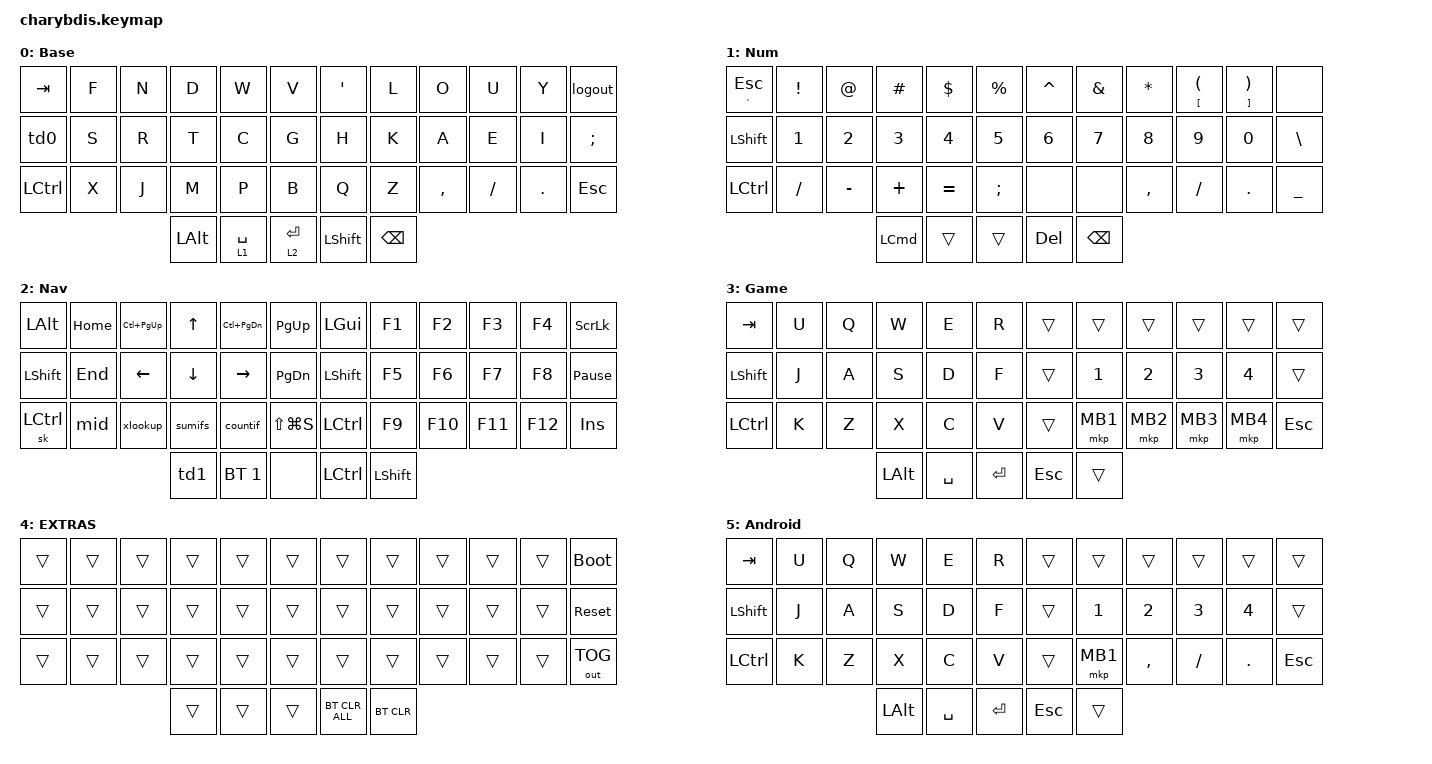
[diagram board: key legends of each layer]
#include <behaviors.dtsi>
#include <dt-bindings/zmk/bt.h>
#include <dt-bindings/zmk/keys.h>
#include <dt-bindings/zmk/outputs.h>
#include <dt-bindings/zmk/pointing.h>
#include "keys_pl.h"

&lt {
    tapping-term-ms = <200>;
    flavor = "balanced";
    quick-tap-ms = <150>;
};

/ {
    behaviors {
        td0: td0 {
            compatible = "zmk,behavior-tap-dance";
            display-name = "Shift/Caps Lock Tap Dance";
            #binding-cells = <0>;
            bindings = <&sk LEFT_SHIFT>, <&kp CAPS>;

            label = "Shift + Caps";
        };

        td1: td1 {
            compatible = "zmk,behavior-tap-dance";
            display-name = "BT 0 / BT 2 Lock Tap Dance";
            #binding-cells = <0>;
            bindings = <&bt BT_SEL 0>, <&bt BT_SEL 2>;

            label = "Tap BT0, dblt BT2";
        };
    };

    combos {
        compatible = "zmk,combos";

        Zs {
            timeout-ms = <20>;
            bindings = <&kp RA(Z)>;
            key-positions = <31 32>;
            layers = <0>;
        };

        Xs {
            timeout-ms = <20>;
            bindings = <&kp PL_X>;
            key-positions = <25 26>;
            layers = <0>;
        };

        Cs {
            timeout-ms = <20>;
            bindings = <&kp PL_C>;
            key-positions = <16 15>;
            layers = <0>;
        };

        Ns {
            timeout-ms = <20>;
            bindings = <&kp PL_N>;
            key-positions = <2 3>;
            layers = <0>;
        };

        Ls {
            timeout-ms = <20>;
            bindings = <&kp PL_L>;
            key-positions = <7 8>;
            layers = <0>;
        };

        Es {
            timeout-ms = <20>;
            bindings = <&kp PL_E>;
            key-positions = <21 22>;
            layers = <0>;
        };

        Os {
            timeout-ms = <20>;
            bindings = <&kp PL_O>;
            key-positions = <8 9>;
            layers = <0>;
        };

        As {
            timeout-ms = <20>;
            bindings = <&kp PL_A>;
            key-positions = <20 19>;
            layers = <0>;
        };

        Ss {
            timeout-ms = <20>;
            bindings = <&kp PL_S>;
            key-positions = <13 14>;
            layers = <0>;
        };

        Gaming {
            bindings = <&tog 3>;
            key-positions = <13 14 15 16>;
        };

        lm {
            bindings = <&mkp MB1>;
            key-positions = <27 28>;
        };

        rm {
            bindings = <&mkp MB2>;
            key-positions = <27 26>;
        };

        mm {
            bindings = <&mkp MB3>;
            key-positions = <27 28 26>;
        };

        mb1bis {
            bindings = <&mkp MB1>;
            key-positions = <32 33 31>;
        };

        zip {
            bindings = <&tog 4>;
            key-positions = <19 20 21 22>;
        };

        onehandm2 {
            bindings = <&mkp MB2>;
            key-positions = <32 33 34>;
        };

        onehandtempscroll {
            bindings = <&mo 1>;
            key-positions = <32 33 34 31>;
        };

        Android {
            bindings = <&tog 5>;
            key-positions = <1 3 2 4>;
        };
    };

    macros {
        xlookup: xlookup {
            compatible = "zmk,behavior-macro";
            #binding-cells = <0>;
            bindings = <&kp EQUAL &kp X &kp L &kp O &kp O &kp K &kp U &kp P &kp LPAR>;
            label = "XLOOKUP";
        };

        sumifs: sumifs {
            compatible = "zmk,behavior-macro";
            #binding-cells = <0>;
            bindings = <&kp EQUAL &kp S &kp U &kp M &kp I &kp F &kp S &kp LPAR>;
            label = "SUMIFS";
        };

        left: left {
            compatible = "zmk,behavior-macro";
            #binding-cells = <0>;
            bindings = <&kp EQUAL &kp L &kp E &kp F &kp T &kp LPAR>;
            label = "LEFT";
        };

        mid: mid {
            compatible = "zmk,behavior-macro";
            #binding-cells = <0>;
            bindings = <&kp EQUAL &kp M &kp I &kp D &kp LPAR>;
            label = "MID";
        };

        copy: copy {
            compatible = "zmk,behavior-macro";
            #binding-cells = <0>;
            bindings = <&sk LCTRL &kp C>;
            label = "COPY";
        };

        paste: paste {
            compatible = "zmk,behavior-macro";
            #binding-cells = <0>;
            bindings = <&sk LCTRL &kp V>;
            label = "PASTE";
        };

        countif: countif {
            compatible = "zmk,behavior-macro";
            #binding-cells = <0>;
            bindings = <&kp EQUAL &kp C &kp O &kp U &kp N &kp T &kp I &kp F &kp S &kp LPAR>;
            label = "COUNTIF";
        };

        logout: logout {
            compatible = "zmk,behavior-macro";
            #binding-cells = <0>;
            bindings = <&sk LEFT_WIN &kp L>;
            label = "LOGOUT";
        };
    };

    keymap {
        compatible = "zmk,keymap";

        BASE {
            display-name = "Base";
            bindings = <
&kp TAB    &kp F  &kp N  &kp D         &kp W        &kp V          &kp SQT         &kp L          &kp O      &kp U     &kp Y    &logout
&td0       &kp S  &kp R  &kp T         &kp C        &kp G          &kp H           &kp K          &kp A      &kp E     &kp I    &kp SEMI
&kp LCTRL  &kp X  &kp J  &kp M         &kp P        &kp B          &kp Q           &kp Z          &kp COMMA  &kp FSLH  &kp DOT  &kp ESC
                         &kp LEFT_ALT  &lt 1 SPACE  &lt 2 ENTER    &kp LEFT_SHIFT  &kp BACKSPACE
            >;
        };

        NUM {
            display-name = "Num";
            bindings = <
&mt GRAVE ESCAPE  &kp EXCL   &kp AT     &kp HASH          &kp DOLLAR  &kp PERCENT    &kp CARET   &kp AMPS       &kp ASTERISK  &mt LEFT_BRACKET LEFT_PARENTHESIS  &mt RIGHT_BRACKET RIGHT_PARENTHESIS  &none
&kp LEFT_SHIFT    &kp N1     &kp N2     &kp N3            &kp N4      &kp N5         &kp N6      &kp N7         &kp N8        &kp N9                             &kp N0                               &kp BSLH
&kp LEFT_CONTROL  &kp SLASH  &kp MINUS  &kp PLUS          &kp EQUAL   &kp SEMI       &none       &none          &kp COMMA     &kp FSLH                           &kp DOT                              &kp UNDER
                                        &kp LEFT_COMMAND  &trans      &trans         &kp DELETE  &kp BACKSPACE
            >;
        };

        NAV {
            display-name = "Nav";
            bindings = <
&kp LEFT_ALT      &kp HOME  &kp LC(PAGE_UP)  &kp UP    &kp LC(PAGE_DOWN)  &kp PAGE_UP      &kp LEFT_GUI      &kp F1          &kp F2   &kp F3   &kp F4   &kp SCROLLLOCK
&kp LEFT_SHIFT    &kp END   &kp LEFT         &kp DOWN  &kp RIGHT          &kp PAGE_DOWN    &kp LEFT_SHIFT    &kp F5          &kp F6   &kp F7   &kp F8   &kp PAUSE_BREAK
&sk LEFT_CONTROL  &mid      &xlookup         &sumifs   &countif           &kp LS(LG(S))    &kp LEFT_CONTROL  &kp F9          &kp F10  &kp F11  &kp F12  &kp INS
                                             &td1      &bt BT_SEL 1       &none            &kp LEFT_CONTROL  &kp LEFT_SHIFT
            >;
        };

        GAME {
            display-name = "Game";
            bindings = <
&kp TAB           &kp U  &kp Q  &kp W     &kp E      &kp R      &trans   &trans    &trans    &trans    &trans    &trans
&kp LEFT_SHIFT    &kp J  &kp A  &kp S     &kp D      &kp F      &trans   &kp N1    &kp N2    &kp N3    &kp N4    &trans
&kp LEFT_CONTROL  &kp K  &kp Z  &kp X     &kp C      &kp V      &trans   &mkp MB1  &mkp MB2  &mkp MB3  &mkp MB4  &kp ESC
                                &kp LALT  &kp SPACE  &kp RET    &kp ESC  &trans
            >;
        };

        EXTRAS {
            bindings = <
&trans  &trans  &trans  &trans  &trans  &trans    &trans          &trans      &trans  &trans  &trans  &bootloader
&trans  &trans  &trans  &trans  &trans  &trans    &trans          &trans      &trans  &trans  &trans  &sys_reset
&trans  &trans  &trans  &trans  &trans  &trans    &trans          &trans      &trans  &trans  &trans  &out OUT_TOG
                        &trans  &trans  &trans    &bt BT_CLR_ALL  &bt BT_CLR
            >;
        };

        Android {
            display-name = "Android";
            bindings = <
&kp TAB           &kp U  &kp Q  &kp W     &kp E      &kp R      &trans   &trans    &trans        &trans    &trans   &trans
&kp LEFT_SHIFT    &kp J  &kp A  &kp S     &kp D      &kp F      &trans   &kp N1    &kp N2        &kp N3    &kp N4   &trans
&kp LEFT_CONTROL  &kp K  &kp Z  &kp X     &kp C      &kp V      &trans   &mkp MB1  &kp COMMA  &kp FSLH  &kp DOT  &kp ESC
                                &kp LALT  &kp SPACE  &kp RET    &kp ESC  &trans
            >;
        };
    };
};
